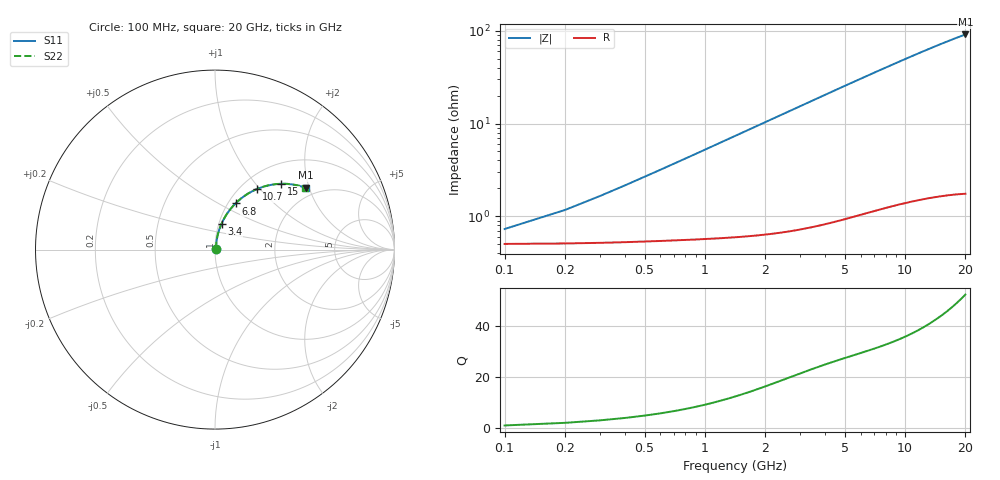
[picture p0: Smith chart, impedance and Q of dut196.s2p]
! Touchstone file exported from HFSS 2026.1.0
!  File:  C:/ffzhzh/LocalFiles/Ansys_Project_Files/temp_train_TMRDL_196_1782983900_45328.aedt
!  Generated:  05:19:47 PM Jul  2, 2026
!  Design:  TMRDL
!  Project:  temp_train_TMRDL_196_1782983900_45328
! Variables:
!  h_bsmrdl = 2um
!  h_ox = 20um
!  h_rdl = 5um
!  h_sub = 80um
!  h_tmrdl = 4.91um
!  h_tsv = 80um
!  h_via = 3um
!  l_bsmrdl = 300um
!  l_sub = 1129.64um
!  l_tmrdl = 729.64um
!  m_sub = 200um
!  pitch = 58.46um
!  r_tsv = 6um
!  s_tmrdl = 10um
!  w_bsmrdl = 18um
!  w_sub = 500um
!  w_tmrdl = 10.44um
!  x_tsv_center1 = 734.86um
!  x_tsv_center2 = 1052.86um
!  x_tsv_center3 = 1792.94um
!  x_tsv_center4 = 2110.94um
!  x_tsv_center5 = 2851.02um
!  x_tsv_center6 = 3169.02um
# GHz S MA R 50.000000
! Terminal data exported
! Port[1] = TM_RDL1_1_T1
! Port[2] = TM_RDL1_1_T2
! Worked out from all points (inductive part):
!   200 points, 100 MHz to 20 GHz, reference 50 ohm
!   read as one part in series: L = 834 pH near 300 MHz
!   highest Q = 52.1 at 20 GHz (marker M1), where L = 726 pH
!   S11 on the Smith chart (normalised r, x): 100 MHz: 1.01, +0.01; 3.4 GHz: 1.03, +0.30; 6.8 GHz: 1.08, +0.60; 10.7 GHz: 1.19, +0.96; 15 GHz: 1.37, +1.37; 20 GHz: 1.72, +1.89
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0.1  0.00678 41.9  0.995 -0.3  0.995 -0.3  0.00678 41.9
! Gamma 0 0 0 0
! Port Impedance 50 0 50 0
0.2  0.01042 60.2  0.9949 -0.7  0.9949 -0.7  0.01042 60.2
0.3  0.01455 68.2  0.9948 -1.0  0.9948 -1.0  0.01455 68.2
0.4  0.01883 72.5  0.9946 -1.4  0.9946 -1.4  0.01883 72.5
0.5  0.02316 75.0  0.9944 -1.7  0.9944 -1.7  0.02316 75.0
0.7  0.03189 77.8  0.994 -2.4  0.994 -2.4  0.03188 77.8
1  0.04502 79.4  0.9933 -3.4  0.9933 -3.4  0.04502 79.4
1.4  0.06253 79.9  0.9922 -4.7  0.9922 -4.7  0.06253 79.9
2  0.08868 79.3  0.9898 -6.7  0.9898 -6.7  0.08867 79.3
2.6  0.1145 78.0  0.9867 -8.6  0.9867 -8.6  0.1145 78.0
3.4  0.1484 75.9  0.9815 -11.2  0.9815 -11.2  0.1484 75.9
3.5  0.1525 75.6  0.9808 -11.6  0.9808 -11.6  0.1525 75.6
4.2  0.1814 73.6  0.9752 -13.8  0.9752 -13.8  0.1814 73.6
5  0.2134 71.3  0.968 -16.3  0.968 -16.3  0.2134 71.3
6.8  0.2815 66.0  0.9489 -21.8  0.9489 -21.8  0.2815 66.1
8.3  0.334 61.8  0.9309 -26.2  0.9309 -26.2  0.334 61.8
10.1  0.3916 56.9  0.9075 -31.2  0.9075 -31.2  0.3916 57.0
10.7  0.4095 55.3  0.8994 -32.8  0.8994 -32.8  0.4094 55.4
13.4  0.4821 48.6  0.8624 -39.7  0.8624 -39.7  0.482 48.7
15  0.5192 44.9  0.8407 -43.5  0.8407 -43.5  0.5192 45.0
16.7  0.5543 41.1  0.8182 -47.4  0.8182 -47.4  0.5543 41.2
20  0.6108 34.3  0.7777 -54.3  0.7777 -54.3  0.6108 34.4
